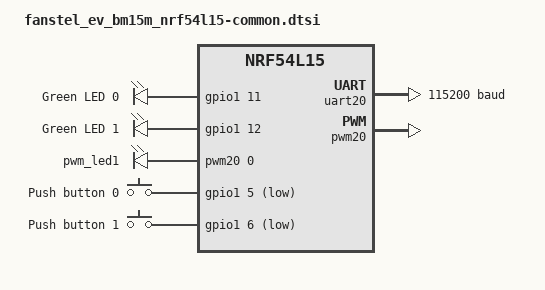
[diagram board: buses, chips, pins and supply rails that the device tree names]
/*
 * Copyright (c) 2024 Nordic Semiconductor ASA
 *
 * SPDX-License-Identifier: Apache-2.0
 */

#include "fanstel_ev_bm15m_nrf54l15-pinctrl.dtsi"

/ {
	leds {
		compatible = "gpio-leds";
		led0: led_0 {
			gpios = <&gpio1 11 GPIO_ACTIVE_HIGH>;
			label = "Green LED 0";
		};
		led1: led_1 {
			gpios = <&gpio1 12 GPIO_ACTIVE_HIGH>;
			label = "Green LED 1";
		};
	};

	pwmleds {
		compatible = "pwm-leds";
		/*
		 * PWM signal can be exposed on GPIO pin only within same domain.
		 * There is only one domain which contains both PWM and GPIO:
		 * PWM20/21/22 and GPIO Port P1.
		 * Only LEDs connected to P1 can work with PWM, for example LED1.
		 */
		pwm_led1: pwm_led_1 {
			pwms = <&pwm20 0 PWM_MSEC(20) PWM_POLARITY_NORMAL>;
		};
	};

	buttons {
		compatible = "gpio-keys";
		button0: button_0 {
			gpios = <&gpio1 5 (GPIO_PULL_UP | GPIO_ACTIVE_LOW)>;
			label = "Push button 0";
			zephyr,code = <INPUT_KEY_0>;
		};
		button1: button_1 {
			gpios = <&gpio1 6 (GPIO_PULL_UP | GPIO_ACTIVE_LOW)>;
			label = "Push button 1";
			zephyr,code = <INPUT_KEY_1>;
		};
	};

	aliases {
		led0 = &led0;
		led1 = &led1;
		pwm-led0 = &pwm_led1;
		sw0 = &button0;
		sw1 = &button1;
		watchdog0 = &wdt31;
	};
};

&uart20 {
	current-speed = <115200>;
	pinctrl-0 = <&uart20_default>;
	pinctrl-1 = <&uart20_sleep>;
	pinctrl-names = "default", "sleep";
};

&pwm20 {
	status = "okay";
	pinctrl-0 = <&pwm20_default>;
	pinctrl-1 = <&pwm20_sleep>;
	pinctrl-names = "default", "sleep";
};
